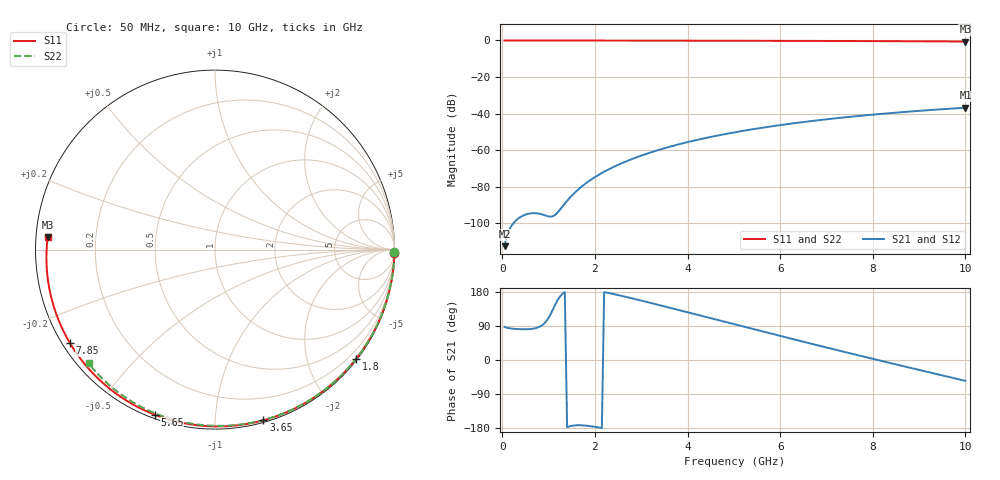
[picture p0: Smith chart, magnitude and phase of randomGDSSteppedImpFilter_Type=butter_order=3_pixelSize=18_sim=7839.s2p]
! freq	dB(S11)	phase(S11)	dB(S12)	phase(S12)
!  dB(S21)	phase(S21)	dB(S22)	phase(S22)
!S-par simulation data
#  GHz  S  DB  R 50
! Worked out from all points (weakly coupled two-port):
!   200 points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, 50 MHz to 10 GHz, reference 50 ohm
!   highest |S21| = -36.83 dB at 10 GHz (marker M1); lowest = -112.6 dB at 50 MHz (marker M2)
!   lowest |S11| = -0.6 dB at 10 GHz (marker M3), VSWR 29.66, Z = 1.69 + j1.9 ohm
!   |S11| at or under -10 dB: nowhere
!   |S22| runs from -0.5 to 0.0 dB; largest |S21 - S12| = 0
!   S11 on the Smith chart (normalised r, x): 50 MHz: open; 1.8 GHz: 0.03, -2.92; 3.65 GHz: 0.02, -1.32; 5.65 GHz: 0.02, -0.70; 7.85 GHz: 0.02, -0.29; 10 GHz: 0.03, +0.04
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0.05  -0.00 -1.1  -112.58 87.2  -112.58 87.2  -0.00 -0.8
0.45  -0.01 -9.6  -95.85 81.1  -95.85 81.1  -0.01 -7.2
0.85  -0.02 -18.1  -95.14 91.0  -95.14 91.0  -0.02 -13.5
1.25  -0.03 -26.5  -92.49 168.1  -92.49 168.1  -0.02 -19.8
1.7  -0.05 -35.8  -80.25 -172.2  -80.25 -172.2  -0.03 -26.8
1.75  -0.05 -36.8  -79.23 -172.6  -79.23 -172.6  -0.04 -27.5
1.8  -0.05 -37.8  -78.26 -173.1  -78.26 -173.1  -0.04 -28.3
2.1  -0.06 -43.9  -73.27 -178.5  -73.27 -178.5  -0.04 -32.9
2.5  -0.07 -51.9  -68.08 171.3  -68.08 171.3  -0.05 -39.0
2.9  -0.08 -59.8  -63.94 159.8  -63.94 159.8  -0.06 -45.0
3.4  -0.09 -69.4  -59.73 144.6  -59.73 144.6  -0.07 -52.4
3.65  -0.10 -74.2  -57.92 136.8  -57.92 136.8  -0.08 -56.0
4.35  -0.12 -87.1  -53.61 114.9  -53.61 114.9  -0.09 -66.0
5.05  -0.15 -99.6  -50.13 93.0  -50.13 93.0  -0.12 -75.7
5.65  -0.18 -110.1  -47.62 74.3  -47.62 74.3  -0.14 -83.8
6.15  -0.21 -118.6  -45.80 58.9  -45.80 58.9  -0.16 -90.4
6.7  -0.25 -127.9  -44.03 42.1  -44.03 42.1  -0.19 -97.5
7.3  -0.29 -137.9  -42.33 24.0  -42.33 24.0  -0.23 -105.1
7.85  -0.34 -147.1  -40.94 7.5  -40.94 7.5  -0.26 -112.0
8.35  -0.39 -155.5  -39.82 -7.2  -39.82 -7.2  -0.30 -118.1
9.2  -0.48 -170.1  -38.15 -32.0  -38.15 -32.0  -0.38 -128.4
10  -0.59 175.6  -36.83 -55.0  -36.83 -55.0  -0.47 -138.0
